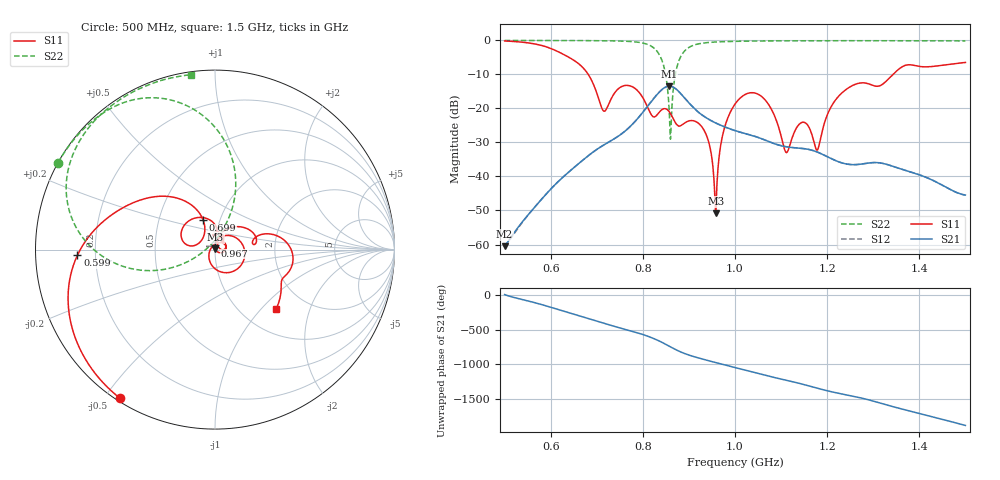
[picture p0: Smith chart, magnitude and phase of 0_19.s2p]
! TOUCHSTONE file generated by CST MICROWAVE STUDIO
! Date and time: Mon Sep 28 14:09:08 2020
! Project name: Scenario_1_Free_SPace.cst
! Parameters = {dx1=485; L_HA=400; MT=2.54; Rad_Dielectric=30; Rad_Lower=7.3; Rad_Upper=30; a_HA=580; a_WG=246; b_HA=500; b_WG=121; c_HA=0; c_WG=187; d_feed=85; h_feed=15; h_lower=18; h_upper=40}
! Header version: 2018
! Port assignment regex: !\s*Touchstone port\s*([0-9]+)\s*=\s*(CST MWS port|CST DS port)\s*([0-9]+|Zmin|Zmax)\s*\(\"(.*)\"\)(\s*mode\s*([0-9]+))?.*
! Touchstone port assignment:
! Touchstone port 1 = CST MWS port 1 ("")
! Touchstone port 2 = CST MWS port 2 ("")
# GHz S DB R 50
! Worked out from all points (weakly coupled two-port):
!   1003 points, 500 MHz to 1.5 GHz, reference 50 ohm
!   highest |S21| = -13.46 dB at 857 MHz (marker M1); lowest = -60.5 dB at 500 MHz (marker M2)
!   lowest |S11| = -50.8 dB at 958 MHz (marker M3), VSWR 1.01, Z = 50.3 + j0.138 ohm
!   |S11| at or under -10 dB: 681.5 MHz to 1.343 GHz (661.3 MHz wide, 65.3 % of centre)
!   |S22| runs from -29.0 to 0.0 dB; largest |S21 - S12| = 0.002
!   S11 on the Smith chart (normalised r, x): 500 MHz: 0.01, -0.55; 599 MHz: 0.13, -0.02; 699 MHz: 0.83, +0.28; 967 MHz: 1.00, +0.05; 1.5 GHz: 1.42, -1.21
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0.5  -0.15 -122.6  -60.49 2.8  -60.48 2.8  -0.01 151.1
0.599  -2.30 -177.7  -43.87 -177.4  -43.87 -177.4  -0.02 144.2
0.667  -7.60 134.4  -35.50 48.0  -35.50 48.1  -0.04 138.3
0.699  -15.07 111.8  -32.14 -16.8  -32.16 -16.8  -0.08 134.9
0.717  -20.80 147.7  -30.59 -53.2  -30.60 -53.2  -0.10 132.7
0.774  -13.43 127.5  -25.11 -158.5  -25.12 -158.6  -0.31 122.0
0.834  -21.38 97.7  -15.44 60.7  -15.40 60.6  -3.79 87.5
0.848  -20.06 77.9  -13.80 14.2  -13.86 14.6  -9.03 71.1
0.857  -20.92 60.1  -13.46 -17.8  -13.46 -17.4  -20.23 71.6
0.883  -25.00 50.5  -15.75 -103.6  -15.75 -103.6  -4.56 -174.1
0.931  -25.98 -14.5  -22.16 153.1  -22.16 153.2  -0.77 154.7
0.958  -50.84 28.5  -24.26 106.2  -24.27 106.1  -0.46 147.4
0.967  -32.59 93.2  -24.82 90.8  -24.83 90.6  -0.40 145.6
1  -18.72 42.1  -26.49 34.8  -26.53 34.6  -0.27 140.3
1.06  -16.75 -62.2  -29.01 -67.5  -29.01 -68.1  -0.16 133.5
1.111  -32.95 148.1  -31.27 -146.6  -31.24 -146.9  -0.12 128.8
1.143  -24.25 28.3  -31.71 162.0  -31.71 161.9  -0.11 126.1
1.167  -27.73 -1.5  -32.28 118.9  -32.27 119.0  -0.10 124.2
1.18  -31.94 44.9  -32.90 95.4  -32.89 95.4  -0.10 123.2
1.241  -14.43 41.9  -36.31 3.1  -36.31 3.2  -0.08 118.5
1.334  -11.20 18.0  -36.63 -151.1  -36.63 -151.2  -0.09 111.5
1.5  -6.47 -44.4  -45.46 -76.7  -45.48 -76.6  -0.14 97.9
